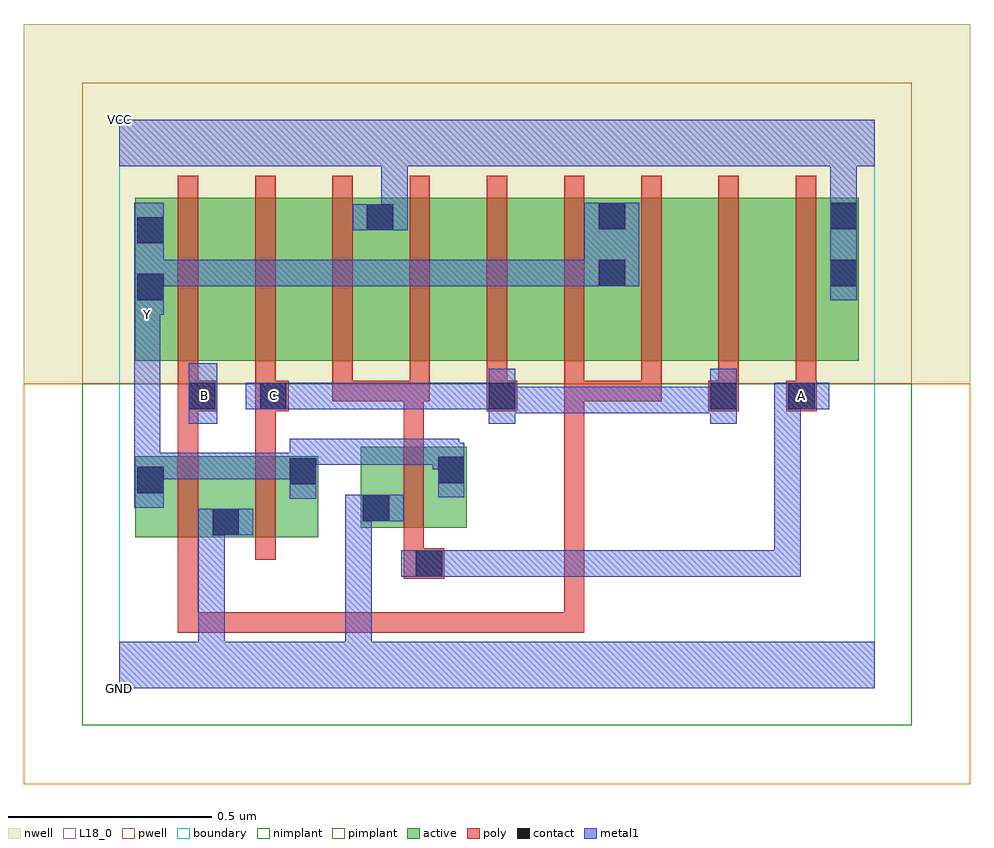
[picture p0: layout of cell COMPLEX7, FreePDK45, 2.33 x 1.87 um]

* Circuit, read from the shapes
.subckt COMPLEX7 A B C GND VCC Y
M1 GND B Y VSUBS nfet w=0.2u l=0.05u
M2 Y C GND VSUBS nfet w=0.2u l=0.05u
M3 Y A GND VSUBS nfet w=0.2u l=0.05u
M4 n1 B Y n2 pfet w=0.4u l=0.05u
M5 n3 C n1 n2 pfet w=0.4u l=0.05u
M6 VCC A n3 n2 pfet w=0.4u l=0.05u
M7 n4 A VCC n2 pfet w=0.4u l=0.05u
M8 n5 C n4 n2 pfet w=0.4u l=0.05u
M9 Y B n5 n2 pfet w=0.4u l=0.05u
M10 n6 B Y n2 pfet w=0.4u l=0.05u
M11 n7 C n6 n2 pfet w=0.4u l=0.05u
M12 VCC A n7 n2 pfet w=0.4u l=0.05u
.ends

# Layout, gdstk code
import gdstk
lib = gdstk.Library(unit=1e-6, precision=1e-09)
def R(c, l, rs):  # rectangles x0, y0, x1, y1
    for r in rs: c.add(gdstk.rectangle(r[:2], r[2:], *l))
def A(c, l, x, y, w, h, nx, ny, dx, dy):  # array of equal rectangles
    R(c, l, [(x+i*dx, y+j*dy, x+i*dx+w, y+j*dy+h) for i in range(nx) for j in range(ny)])
active = (1, 0)
pwell = (2, 0)
nwell = (3, 0)
nimplant = (4, 0)
pimplant = (5, 0)
poly = (9, 0)
contact = (10, 0)
metal1 = (11, 0)
L18_0 = (18, 0)
boundary = (235, 0)

complex7 = lib.new_cell('COMPLEX7')
A(complex7, active, 0.265, 0.807, 0.19, 0.4, 3, 1, 0.57, 0)
A(complex7, active, 0.455, 0.807, 0.225, 0.4, 3, 1, 0.57, 0)
R(complex7, active, [(0.04,0.372,0.3,0.572), (0.04,0.372,0.115,0.572), (0.225,0.372,0.49,0.572), (0.225,0.372,0.3,0.562), (0.595,0.395,0.855,0.595), (0.595,0.407,0.67,0.595), (0.415,0.495,0.49,0.572), (0.78,0.495,0.855,0.595), (0.04,0.807,0.265,1.207), (0.04,0.807,0.145,1.2), (0.605,0.807,0.68,1.207), (0.605,0.807,0.835,1.207), (1.175,0.807,1.405,1.207), (1.175,0.807,1.25,1.2), (1.745,0.807,1.82,1.207)])
R(complex7, pwell, [(-0.235,-0.235,2.095,0.75)])
R(complex7, nwell, [(-0.235,0.75,2.095,1.635)])
R(complex7, nimplant, [(-0.09,-0.09,1.95,0.75)])
R(complex7, pimplant, [(-0.09,0.75,1.95,1.49)])
A(complex7, poly, 0.145, 0.707, 0.05, 0.095, 9, 1, 0.19, 0)
A(complex7, poly, 0.145, 0.752, 0.05, 0.51, 9, 1, 0.19, 0)
R(complex7, poly, [(0.145,0.137,0.195,0.187), (0.145,0.137,0.195,0.187), (0.145,0.137,0.195,0.187), (0.145,0.137,0.375,0.187), (0.145,0.137,0.195,0.367), (0.325,0.137,0.375,0.187), (0.325,0.137,0.375,0.187), (0.325,0.137,0.375,0.187), (0.325,0.137,0.575,0.187), (0.525,0.137,0.575,0.187), (0.525,0.137,0.575,0.187), (0.525,0.137,0.575,0.187), (0.525,0.137,0.575,0.187), (0.525,0.137,0.575,0.187), (0.525,0.137,0.707,0.187), (0.657,0.137,0.707,0.187), (0.657,0.137,1.012,0.187), (0.962,0.137,1.012,0.187), (0.962,0.137,1.012,0.187), (0.962,0.137,1.012,0.187), (0.962,0.137,1.145,0.187), (1.095,0.137,1.145,0.187), (1.095,0.137,1.145,0.187), (1.095,0.137,1.145,0.187), (1.095,0.137,1.145,0.187), (1.095,0.137,1.145,0.187), (1.095,0.137,1.145,0.187), (1.095,0.137,1.145,0.187), (1.095,0.137,1.145,0.757), (0.7,0.27,0.8,0.345), (0.7,0.295,0.75,0.39), (0.145,0.317,0.195,0.627), (0.335,0.317,0.385,0.627), (0.7,0.34,0.75,0.65), (0.145,0.577,0.195,0.732), (0.335,0.577,0.385,0.732), (0.7,0.6,0.75,0.757), (0.145,0.682,0.242,0.757), (0.335,0.682,0.417,0.757), (0.905,0.682,0.98,0.757), (1.45,0.682,1.525,0.757), (1.642,0.682,1.717,0.757), (0.525,0.707,0.575,0.757), (0.525,0.707,0.75,0.757), (0.7,0.707,0.75,0.757), (0.7,0.707,0.75,0.757), (0.7,0.707,0.765,0.757), (1.095,0.707,1.145,0.757), (1.095,0.707,1.145,0.757), (1.095,0.707,1.145,0.757), (1.095,0.707,1.335,0.757), (1.285,0.707,1.335,0.757), (1.285,0.707,1.335,0.757), (1.285,0.707,1.335,0.757)])
R(complex7, contact, [(0.73,0.275,0.795,0.34), (0.23,0.377,0.295,0.442), (0.6,0.412,0.665,0.477), (0.045,0.48,0.11,0.545), (0.42,0.502,0.485,0.567), (0.785,0.505,0.85,0.57), (0.172,0.687,0.237,0.752), (0.347,0.687,0.412,0.752), (0.91,0.687,0.975,0.752), (1.455,0.687,1.52,0.752), (1.647,0.687,1.712,0.752), (0.045,0.955,0.11,1.02), (1.18,0.99,1.245,1.055), (1.75,0.99,1.815,1.055), (0.045,1.095,0.11,1.16), (0.61,1.127,0.675,1.192), (1.18,1.13,1.245,1.195), (1.75,1.13,1.815,1.195)])
R(complex7, metal1, [(0,0,1.86,0.115), (0.195,0.05,0.26,0.115), (0.195,0.05,0.26,0.115), (0.195,0.05,0.26,0.115), (0.195,0.05,0.26,0.115), (0.195,0.05,0.26,0.115), (0.195,0.05,0.26,0.115), (0.195,0.05,0.26,0.442), (0.557,0.05,0.622,0.115), (0.557,0.05,0.622,0.115), (0.557,0.05,0.622,0.115), (0.557,0.05,0.622,0.115), (0.557,0.05,0.622,0.477), (0.695,0.275,0.83,0.34), (0.765,0.275,0.83,0.34), (0.765,0.275,0.83,0.34), (0.765,0.275,0.987,0.34), (0.922,0.275,0.987,0.34), (0.922,0.275,0.987,0.34), (0.922,0.275,0.987,0.34), (0.922,0.275,0.987,0.34), (0.922,0.275,0.987,0.34), (0.922,0.275,0.987,0.34), (0.922,0.275,0.987,0.34), (0.922,0.275,1.125,0.34), (1.06,0.275,1.125,0.34), (1.06,0.275,1.125,0.34), (1.06,0.275,1.125,0.34), (1.06,0.275,1.28,0.34), (1.215,0.275,1.28,0.34), (1.215,0.275,1.417,0.34), (1.352,0.275,1.417,0.34), (1.352,0.275,1.417,0.34), (1.352,0.275,1.417,0.34), (1.352,0.275,1.677,0.34), (1.612,0.275,1.677,0.34), (1.612,0.275,1.677,0.752), (0.195,0.377,0.33,0.442), (0.557,0.412,0.622,0.477), (0.557,0.412,0.622,0.477), (0.557,0.412,0.7,0.477), (0.037,0.445,0.11,0.58), (0.42,0.467,0.485,0.615), (0.785,0.47,0.85,0.605), (0.037,0.515,0.102,0.917), (0.045,0.515,0.11,0.58), (0.045,0.515,0.11,0.58), (0.045,0.515,0.31,0.58), (0.245,0.515,0.31,0.58), (0.245,0.515,0.31,0.58), (0.245,0.515,0.31,0.58), (0.245,0.515,0.485,0.58), (0.772,0.54,0.85,0.605), (0.772,0.54,0.837,0.615), (0.42,0.55,0.622,0.615), (0.557,0.55,0.622,0.615), (0.557,0.55,0.622,0.615), (0.557,0.55,0.622,0.615), (0.557,0.55,0.837,0.615), (0.172,0.652,0.242,0.8), (0.91,0.652,0.975,0.787), (1.455,0.652,1.52,0.787), (0.91,0.677,0.975,0.742), (0.91,0.677,0.975,0.742), (0.91,0.677,1.125,0.742), (1.06,0.677,1.125,0.742), (1.06,0.677,1.262,0.742), (1.197,0.677,1.262,0.742), (1.197,0.677,1.262,0.742), (1.197,0.677,1.262,0.742), (1.197,0.677,1.52,0.742), (1.455,0.677,1.52,0.742), (1.455,0.677,1.52,0.742), (0.312,0.687,0.447,0.752), (0.382,0.687,0.447,0.752), (0.382,0.687,0.447,0.752), (0.382,0.687,0.622,0.752), (0.557,0.687,0.622,0.752), (0.557,0.687,0.622,0.752), (0.557,0.687,0.622,0.752), (0.557,0.687,0.837,0.752), (0.772,0.687,0.837,0.752), (0.772,0.687,0.837,0.752), (0.772,0.687,0.837,0.752), (0.772,0.687,0.975,0.752), (1.612,0.687,1.677,0.752), (1.612,0.687,1.677,0.752), (1.612,0.687,1.747,0.752), (0.037,0.852,0.102,0.987), (0.037,0.92,0.102,0.985), (0.037,0.92,0.11,1.195), (1.75,0.955,1.815,1.23), (0.045,0.99,0.11,1.055), (0.045,0.99,0.11,1.055), (0.045,0.99,0.31,1.055), (0.245,0.99,0.31,1.055), (0.245,0.99,0.31,1.055), (0.245,0.99,0.31,1.055), (0.245,0.99,0.447,1.055), (0.382,0.99,0.447,1.055), (0.382,0.99,0.622,1.055), (0.557,0.99,0.622,1.055), (0.557,0.99,0.622,1.055), (0.557,0.99,0.622,1.055), (0.557,0.99,0.837,1.055), (0.772,0.99,0.837,1.055), (0.772,0.99,0.837,1.055), (0.772,0.99,0.837,1.055), (0.772,0.99,0.987,1.055), (0.922,0.99,0.987,1.055), (0.922,0.99,0.987,1.055), (0.922,0.99,0.987,1.055), (0.922,0.99,1.125,1.055), (1.06,0.99,1.125,1.055), (1.06,0.99,1.21,1.055), (1.145,0.99,1.28,1.195), (0.575,1.127,0.71,1.192), (0.645,1.127,0.71,1.35), (1.75,1.165,1.815,1.35), (0,1.285,1.86,1.4)])
R(complex7, L18_0, [(0,0,1.86,0.115), (0.195,0.05,0.26,0.115), (0.195,0.05,0.26,0.115), (0.195,0.05,0.26,0.115), (0.195,0.05,0.26,0.115), (0.195,0.05,0.26,0.115), (0.195,0.05,0.26,0.115), (0.195,0.05,0.26,0.442), (0.557,0.05,0.622,0.115), (0.557,0.05,0.622,0.115), (0.557,0.05,0.622,0.115), (0.557,0.05,0.622,0.115), (0.557,0.05,0.622,0.477), (0.695,0.275,0.83,0.34), (0.765,0.275,0.83,0.34), (0.765,0.275,0.83,0.34), (0.765,0.275,0.987,0.34), (0.922,0.275,0.987,0.34), (0.922,0.275,0.987,0.34), (0.922,0.275,0.987,0.34), (0.922,0.275,0.987,0.34), (0.922,0.275,0.987,0.34), (0.922,0.275,0.987,0.34), (0.922,0.275,0.987,0.34), (0.922,0.275,1.125,0.34), (1.06,0.275,1.125,0.34), (1.06,0.275,1.125,0.34), (1.06,0.275,1.125,0.34), (1.06,0.275,1.28,0.34), (1.215,0.275,1.28,0.34), (1.215,0.275,1.417,0.34), (1.352,0.275,1.417,0.34), (1.352,0.275,1.417,0.34), (1.352,0.275,1.417,0.34), (1.352,0.275,1.677,0.34), (1.612,0.275,1.677,0.34), (1.612,0.275,1.677,0.752), (0.195,0.377,0.33,0.442), (0.557,0.412,0.622,0.477), (0.557,0.412,0.622,0.477), (0.557,0.412,0.7,0.477), (0.037,0.445,0.11,0.58), (0.42,0.467,0.485,0.615), (0.785,0.47,0.85,0.605), (0.037,0.515,0.102,0.917), (0.045,0.515,0.11,0.58), (0.045,0.515,0.11,0.58), (0.045,0.515,0.31,0.58), (0.245,0.515,0.31,0.58), (0.245,0.515,0.31,0.58), (0.245,0.515,0.31,0.58), (0.245,0.515,0.485,0.58), (0.772,0.54,0.837,0.615), (0.772,0.54,0.85,0.605), (0.42,0.55,0.622,0.615), (0.557,0.55,0.622,0.615), (0.557,0.55,0.622,0.615), (0.557,0.55,0.622,0.615), (0.557,0.55,0.837,0.615), (0.172,0.652,0.242,0.8), (0.91,0.652,0.975,0.787), (1.455,0.652,1.52,0.787), (0.91,0.677,0.975,0.742), (0.91,0.677,0.975,0.742), (0.91,0.677,1.125,0.742), (1.06,0.677,1.125,0.742), (1.06,0.677,1.262,0.742), (1.197,0.677,1.262,0.742), (1.197,0.677,1.262,0.742), (1.197,0.677,1.262,0.742), (1.197,0.677,1.52,0.742), (1.455,0.677,1.52,0.742), (1.455,0.677,1.52,0.742), (0.177,0.687,0.242,0.752), (0.312,0.687,0.447,0.752), (0.347,0.687,0.412,0.752), (0.382,0.687,0.447,0.752), (0.382,0.687,0.447,0.752), (0.382,0.687,0.622,0.752), (0.557,0.687,0.622,0.752), (0.557,0.687,0.622,0.752), (0.557,0.687,0.622,0.752), (0.557,0.687,0.837,0.752), (0.772,0.687,0.837,0.752), (0.772,0.687,0.837,0.752), (0.772,0.687,0.837,0.752), (0.772,0.687,0.975,0.752), (1.612,0.687,1.677,0.752), (1.612,0.687,1.677,0.752), (1.612,0.687,1.747,0.752), (1.647,0.687,1.712,0.752), (0.037,0.852,0.102,0.987), (0.037,0.887,0.102,0.952), (0.037,0.92,0.11,1.195), (0.037,0.92,0.102,0.985), (1.75,0.955,1.815,1.23), (0.045,0.99,0.11,1.055), (0.045,0.99,0.11,1.055), (0.045,0.99,0.31,1.055), (0.245,0.99,0.31,1.055), (0.245,0.99,0.31,1.055), (0.245,0.99,0.31,1.055), (0.245,0.99,0.447,1.055), (0.382,0.99,0.447,1.055), (0.382,0.99,0.622,1.055), (0.557,0.99,0.622,1.055), (0.557,0.99,0.622,1.055), (0.557,0.99,0.622,1.055), (0.557,0.99,0.837,1.055), (0.772,0.99,0.837,1.055), (0.772,0.99,0.837,1.055), (0.772,0.99,0.837,1.055), (0.772,0.99,0.987,1.055), (0.922,0.99,0.987,1.055), (0.922,0.99,0.987,1.055), (0.922,0.99,0.987,1.055), (0.922,0.99,1.125,1.055), (1.06,0.99,1.125,1.055), (1.06,0.99,1.21,1.055), (1.145,0.99,1.28,1.195), (0.575,1.127,0.71,1.192), (0.645,1.127,0.71,1.35), (1.75,1.165,1.815,1.35), (0,1.285,1.86,1.4)])
R(complex7, boundary, [(0,0,1.86,1.4)])
complex7.add(gdstk.Label('A', (1.68,0.72), layer=11, texttype=0))
complex7.add(gdstk.Label('B', (0.21,0.72), layer=11, texttype=0))
complex7.add(gdstk.Label('C', (0.38,0.72), layer=11, texttype=0))
complex7.add(gdstk.Label('Y', (0.07,0.92), layer=11, texttype=0))
complex7.add(gdstk.Label('VCC', (0,1.4), layer=11, texttype=0))
complex7.add(gdstk.Label('GND', (0,0), layer=11, texttype=0))

lib.write_gds('COMPLEX7.gds')
